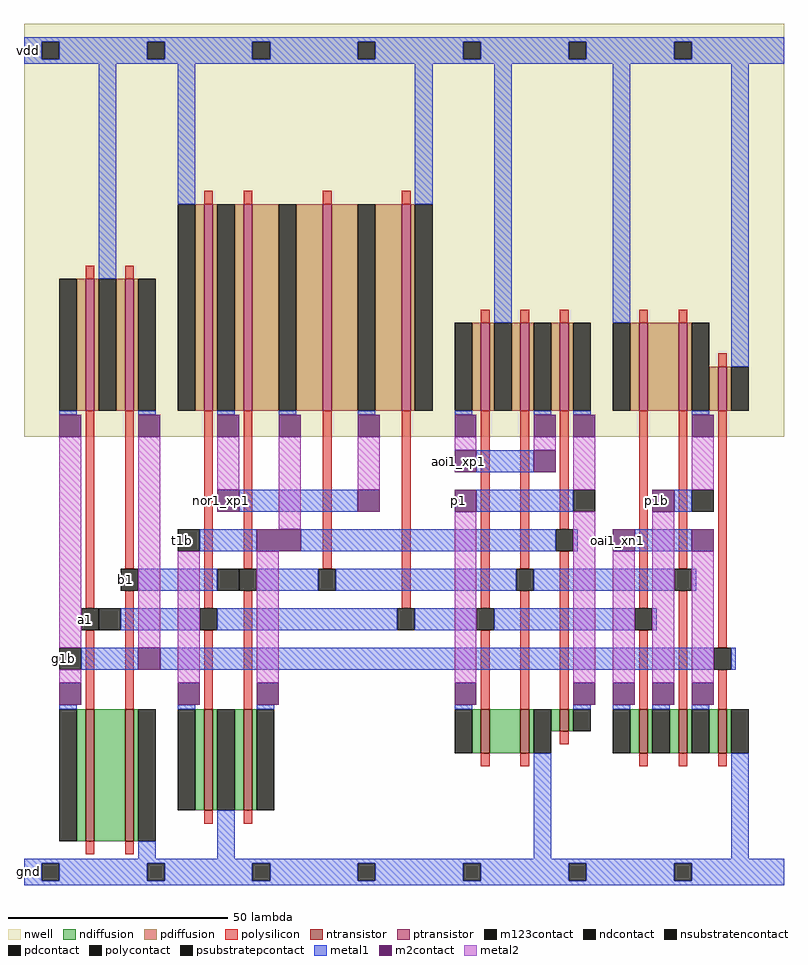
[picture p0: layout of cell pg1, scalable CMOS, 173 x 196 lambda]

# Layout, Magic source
magic
tech scmos
<< nwell >>
rect 0 102 173 196
<< ntransistor >>
rect 14 10 16 40
rect 23 10 25 40
rect 41 17 43 40
rect 50 17 52 40
rect 104 30 106 40
rect 113 30 115 40
rect 122 35 124 40
rect 140 30 142 40
rect 149 30 151 40
rect 158 30 160 40
<< ptransistor >>
rect 14 108 16 138
rect 23 108 25 138
rect 41 108 43 155
rect 50 108 52 155
rect 68 108 70 155
rect 86 108 88 155
rect 104 108 106 128
rect 113 108 115 128
rect 122 108 124 128
rect 140 108 142 128
rect 149 108 151 128
rect 158 108 160 118
<< ndiffusion >>
rect 12 10 14 40
rect 16 10 23 40
rect 25 10 26 40
rect 39 17 41 40
rect 43 17 44 40
rect 48 17 50 40
rect 52 17 53 40
rect 102 30 104 40
rect 106 30 113 40
rect 115 30 116 40
rect 120 35 122 40
rect 124 35 125 40
rect 138 30 140 40
rect 142 30 143 40
rect 147 30 149 40
rect 151 30 152 40
rect 156 30 158 40
rect 160 30 161 40
<< pdiffusion >>
rect 12 108 14 138
rect 16 108 17 138
rect 21 108 23 138
rect 25 108 26 138
rect 39 108 41 155
rect 43 108 44 155
rect 48 108 50 155
rect 52 108 58 155
rect 62 108 68 155
rect 70 108 76 155
rect 80 108 86 155
rect 88 108 89 155
rect 102 108 104 128
rect 106 108 107 128
rect 111 108 113 128
rect 115 108 116 128
rect 120 108 122 128
rect 124 108 125 128
rect 138 108 140 128
rect 142 108 149 128
rect 151 108 152 128
rect 156 108 158 118
rect 160 108 161 118
<< ndcontact >>
rect 8 10 12 40
rect 26 10 30 40
rect 35 17 39 40
rect 44 17 48 40
rect 53 17 57 40
rect 98 30 102 40
rect 116 30 120 40
rect 125 35 129 40
rect 134 30 138 40
rect 143 30 147 40
rect 152 30 156 40
rect 161 30 165 40
<< pdcontact >>
rect 8 108 12 138
rect 17 108 21 138
rect 26 108 30 138
rect 35 108 39 155
rect 44 108 48 155
rect 58 108 62 155
rect 76 108 80 155
rect 89 108 93 155
rect 98 108 102 128
rect 107 108 111 128
rect 116 108 120 128
rect 125 108 129 128
rect 134 108 138 128
rect 152 108 156 128
rect 161 108 165 118
<< psubstratepcontact >>
rect 4 1 8 5
rect 28 1 32 5
rect 52 1 56 5
rect 76 1 80 5
rect 100 1 104 5
rect 124 1 128 5
rect 148 1 152 5
<< nsubstratencontact >>
rect 4 188 8 192
rect 28 188 32 192
rect 52 188 56 192
rect 76 188 80 192
rect 100 188 104 192
rect 124 188 128 192
rect 148 188 152 192
<< polysilicon >>
rect 41 155 43 158
rect 50 155 52 158
rect 68 155 70 158
rect 86 155 88 158
rect 14 138 16 141
rect 23 138 25 141
rect 104 128 106 131
rect 113 128 115 131
rect 122 128 124 131
rect 140 128 142 131
rect 149 128 151 131
rect 158 118 160 121
rect 14 63 16 108
rect 23 72 25 108
rect 14 40 16 58
rect 23 40 25 67
rect 41 63 43 108
rect 50 72 52 108
rect 68 72 70 108
rect 41 40 43 58
rect 50 40 52 67
rect 86 63 88 108
rect 104 63 106 108
rect 113 72 115 108
rect 122 81 124 108
rect 104 40 106 58
rect 113 40 115 67
rect 122 40 124 76
rect 140 63 142 108
rect 149 72 151 108
rect 140 40 142 58
rect 149 40 151 67
rect 158 54 160 108
rect 158 40 160 49
rect 122 32 124 35
rect 104 27 106 30
rect 113 27 115 30
rect 140 27 142 30
rect 149 27 151 30
rect 158 27 160 30
rect 41 14 43 17
rect 50 14 52 17
rect 14 7 16 10
rect 23 7 25 10
<< polycontact >>
rect 22 67 26 72
rect 13 58 17 63
rect 49 67 53 72
rect 67 67 71 72
rect 40 58 44 63
rect 121 76 125 81
rect 112 67 116 72
rect 85 58 89 63
rect 103 58 107 63
rect 148 67 152 72
rect 139 58 143 63
rect 157 49 161 54
<< metal1 >>
rect 0 192 173 193
rect 0 188 4 192
rect 8 188 28 192
rect 32 188 52 192
rect 56 188 76 192
rect 80 188 100 192
rect 104 188 124 192
rect 128 188 148 192
rect 152 188 173 192
rect 0 187 173 188
rect 17 138 21 187
rect 35 155 39 187
rect 89 155 93 187
rect 8 107 12 108
rect 26 107 30 108
rect 44 107 48 108
rect 58 107 62 108
rect 107 128 111 187
rect 134 128 138 187
rect 76 107 80 108
rect 98 107 102 108
rect 116 107 120 108
rect 161 118 165 187
rect 125 107 129 108
rect 152 107 156 108
rect 103 94 116 99
rect 49 85 76 90
rect 103 85 125 90
rect 148 85 152 90
rect 40 76 53 81
rect 63 76 121 81
rect 125 76 126 81
rect 139 76 152 81
rect 26 67 44 72
rect 53 67 67 72
rect 71 67 112 72
rect 116 67 148 72
rect 152 67 153 72
rect 22 58 40 63
rect 44 58 85 63
rect 89 58 103 63
rect 107 58 139 63
rect 143 58 144 63
rect 13 49 26 54
rect 31 49 157 54
rect 161 49 162 54
rect 8 40 12 41
rect 35 40 39 41
rect 53 40 57 41
rect 98 40 102 41
rect 125 40 129 41
rect 134 40 138 41
rect 143 40 147 41
rect 152 40 156 41
rect 26 6 30 10
rect 44 6 48 17
rect 116 6 120 30
rect 161 6 165 30
rect 0 5 173 6
rect 0 1 4 5
rect 8 1 28 5
rect 32 1 52 5
rect 56 1 76 5
rect 80 1 100 5
rect 104 1 124 5
rect 128 1 148 5
rect 152 1 173 5
rect 0 0 173 1
<< m2contact >>
rect 8 102 13 107
rect 26 102 31 107
rect 44 102 49 107
rect 58 102 63 107
rect 76 102 81 107
rect 98 102 103 107
rect 116 102 121 107
rect 125 102 130 107
rect 152 102 157 107
rect 98 94 103 99
rect 116 94 121 99
rect 44 85 49 90
rect 76 85 81 90
rect 98 85 103 90
rect 143 85 148 90
rect 53 76 63 81
rect 134 76 139 81
rect 152 76 157 81
rect 26 49 31 54
rect 8 41 13 46
rect 35 41 40 46
rect 53 41 58 46
rect 98 41 103 46
rect 125 41 130 46
rect 134 41 139 46
rect 143 41 148 46
rect 152 41 157 46
<< metal2 >>
rect 8 54 13 102
rect 26 54 31 102
rect 44 90 49 102
rect 58 81 63 102
rect 76 90 81 102
rect 98 99 103 102
rect 116 99 121 102
rect 125 90 130 102
rect 152 90 157 102
rect 8 46 13 49
rect 35 46 40 76
rect 53 46 58 76
rect 98 46 103 85
rect 125 46 130 85
rect 134 46 139 76
rect 143 46 148 85
rect 152 46 157 76
<< m123contact >>
rect 17 58 22 63
rect 8 49 13 54
rect 35 76 40 81
rect 44 67 49 72
rect 125 85 130 90
rect 152 85 157 90
<< labels >>
rlabel metal1 13 58 15 63 0 a1
port 1 nsew
rlabel metal1 22 67 24 72 0 b1
port 2 nsew
rlabel metal1 8 49 10 54 0 g1b
port 3 nsew
rlabel m2contact 98 85 100 90 0 p1
port 4 nsew
rlabel m2contact 143 85 145 90 0 p1b
port 5 nsew
rlabel metal1 35 76 37 81 0 t1b
port 6 nsew
rlabel m2contact 98 94 100 99 0 aoi1_xp1
rlabel m2contact 44 85 46 90 0 nor1_xp1
rlabel m2contact 134 76 136 81 0 oai1_xn1
rlabel metal1 0 187 2 193 0 vdd
port 7 nsew
rlabel metal1 0 0 2 6 0 gnd
port 8 nsew
<< end >>
